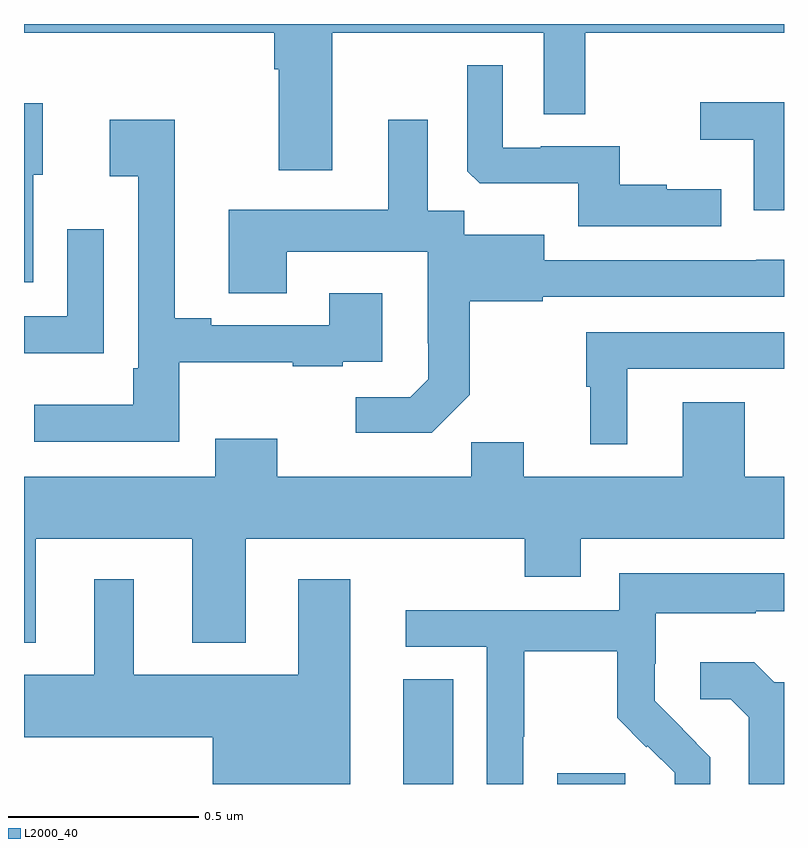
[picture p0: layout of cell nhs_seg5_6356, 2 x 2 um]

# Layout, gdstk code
import gdstk
lib = gdstk.Library(unit=1e-6, precision=1e-09)
def R(c, l, rs):  # rectangles x0, y0, x1, y1
    for r in rs: c.add(gdstk.rectangle(r[:2], r[2:], *l))
def P(c, l, *ps):  # polygons
    for p in ps: c.add(gdstk.Polygon(p, *l))
L2000_40 = (2000, 40)

nhs_seg5_6356 = lib.new_cell('nhs_seg5_6356')
R(nhs_seg5_6356, L2000_40, [(195.998,838.799,196.129,839.075), (196.403,838.799,196.582,838.827)])
P(nhs_seg5_6356, L2000_40, [(195.811,840.776),(196.368,840.776),(196.368,840.562),(196.477,840.562),(196.477,840.776),(197,840.776),(197,840.799),(195,840.799),(195,840.776),(195.659,840.776),(195.659,840.68),(195.671,840.68),(195.671,840.414),(195.811,840.414)],
  [(196.835,840.364),(196.691,840.364),(196.691,840.376),(196.568,840.376),(196.568,840.477),(196.36,840.477),(196.36,840.474),(196.26,840.474),(196.26,840.691),(196.167,840.691),(196.167,840.411),(196.199,840.38),(196.458,840.38),(196.458,840.267),(196.835,840.267)],
  [(197,840.593),(196.779,840.593),(196.779,840.494),(196.92,840.494),(196.92,840.309),(197,840.309)],
  [(195.024,840.402),(195.049,840.402),(195.049,840.59),(195,840.59),(195,840.12),(195.024,840.12)],
  [(196.173,839.823),(196.173,840.069),(196.365,840.069),(196.365,840.081),(197,840.081),(197,840.178),(196.927,840.178),(196.927,840.177),(196.369,840.177),(196.369,840.244),(196.158,840.244),(196.158,840.308),(196.063,840.308),(196.063,840.547),(195.959,840.547),(195.959,840.31),(195.539,840.31),(195.539,840.091),(195.691,840.091),(195.691,840.2),(196.062,840.2),(196.062,839.959),(196.064,839.959),(196.064,839.864),(196.017,839.817),(195.873,839.817),(195.873,839.723),(196.073,839.723)],
  [(195.409,839.909),(195.707,839.909),(195.707,839.898),(195.839,839.898),(195.839,839.91),(195.943,839.91),(195.943,840.091),(195.803,840.091),(195.803,840.006),(195.493,840.006),(195.493,840.025),(195.397,840.025),(195.397,840.547),(195.225,840.547),(195.225,840.398),(195.3,840.398),(195.3,839.893),(195.288,839.893),(195.288,839.797),(195.027,839.797),(195.027,839.7),(195.409,839.7)],
  [(195.21,840.259),(195.114,840.259),(195.114,840.03),(195,840.03),(195,839.933),(195.21,839.933)],
  [(196.588,839.892),(197,839.892),(197,839.988),(196.479,839.988),(196.479,839.844),(196.49,839.844),(196.49,839.693),(196.588,839.693)],
  [(195.031,839.444),(195.443,839.444),(195.443,839.171),(195.583,839.171),(195.583,839.444),(196.318,839.444),(196.318,839.345),(196.465,839.345),(196.465,839.444),(197,839.444),(197,839.608),(196.897,839.608),(196.897,839.803),(196.733,839.803),(196.733,839.608),(196.315,839.608),(196.315,839.699),(196.177,839.699),(196.177,839.608),(195.667,839.608),(195.667,839.707),(195.503,839.707),(195.503,839.608),(195,839.608),(195,839.171),(195.031,839.171)],
  [(196.314,838.924),(196.317,838.924),(196.317,839.148),(196.561,839.148),(196.561,838.973),(196.638,838.896),(196.641,838.899),(196.712,838.829),(196.712,838.799),(196.806,838.799),(196.806,838.87),(196.733,838.943),(196.734,838.944),(196.66,839.018),(196.66,839.115),(196.662,839.115),(196.662,839.249),(196.925,839.249),(196.925,839.253),(197,839.253),(197,839.353),(196.566,839.353),(196.566,839.256),(196.005,839.256),(196.005,839.16),(196.218,839.16),(196.218,838.799),(196.314,838.799)],
  [(195.859,839.338),(195.722,839.338),(195.722,839.086),(195.289,839.086),(195.289,839.338),(195.185,839.338),(195.185,839.086),(195,839.086),(195,838.922),(195.497,838.922),(195.497,838.799),(195.859,838.799)],
  [(197,839.067),(196.974,839.067),(196.922,839.119),(196.779,839.119),(196.779,839.022),(196.86,839.022),(196.907,838.975),(196.907,838.799),(197,838.799)])

lib.write_gds('nhs_seg5_6356.gds')
